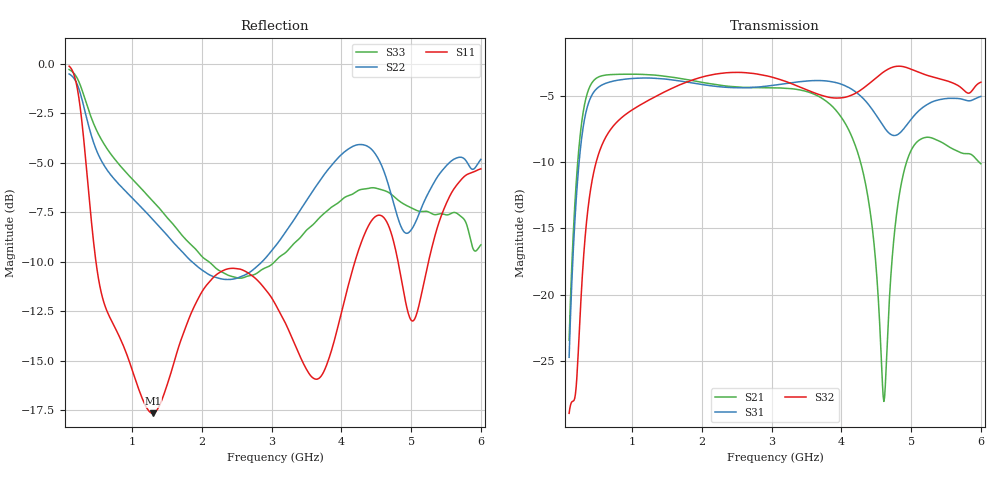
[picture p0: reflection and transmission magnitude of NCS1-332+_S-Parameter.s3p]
!Mini-Circuits
!Created: 08-07-2018 at 13:35:45
!MODEL: NCS1-332+
!S/N: Unit 1
!Remarks: Auto port extension applied.
!Port Config: Port1->PrimaryDot, Port2->SecondaryDot, Port3->Secondary.
# MHZ S DB R 50
!Frequency
!  S11 dB  S11 DEG  S12 dB  S12 DEG  S13 dB  S13 DEG
!  S21 dB  S21 DEG  S22 dB  S22 DEG  S23 dB  S23 DEG
!  S31 dB  S31 DEG  S32 dB  S32 DEG  S33 dB  S33 DEG
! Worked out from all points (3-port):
!   591 points, 100 MHz to 6 GHz, reference 50 ohm
!   strongest paths, dB at 100 MHz, 1.57 GHz, 3.05 GHz, 4.53 GHz, 6 GHz:
!     S32: -28.9, -4.5, -3.7, -3.5, -4.0
!     S31: -24.7, -3.8, -4.2, -6.7, -5.1
!     S21: -23.4, -3.6, -4.4, -20.3, -10.1
!   lowest |S11| = -17.6 dB at 1.3 GHz (marker M1), VSWR 1.30, Z = 44.9 - j11.4 ohm
!   |S11| at or under -10 dB: 484.7 MHz to 4.194 GHz (3.709 GHz wide, 159 % of centre); 4.814 GHz to 5.249 GHz (435.1 MHz wide, 8.65 % of centre)
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100  -0.12 -40.2  -23.40 -31.9  -24.69 147.3
     -23.41 -31.9  -0.51 156.9  -28.91 71.0
     -24.69 147.3  -28.91 71.0  -0.29 163.4
210  -1.11 -92.2  -10.91 -71.8  -12.18 112.5
     -10.92 -71.8  -0.99 131.1  -26.28 104.1
     -12.18 112.5  -26.28 104.1  -0.69 145.0
320  -4.19 -151.2  -5.70 -113.2  -6.80 74.5
     -5.70 -113.2  -2.30 108.1  -16.25 114.6
     -6.80 74.5  -16.25 114.6  -1.70 128.4
510  -10.62 112.7  -3.63 -162.6  -4.41 28.8
     -3.63 -162.6  -4.52 84.1  -9.60 82.1
     -4.41 28.8  -9.60 82.1  -3.48 109.9
1300  -17.65 -107.2  -3.45 111.5  -3.69 -52.9
      -3.45 111.5  -7.87 25.8  -5.18 33.8
      -3.69 -52.9  -5.18 33.8  -6.93 58.0
3050  -12.11 7.1  -4.42 2.8  -4.21 -179.9
      -4.42 2.9  -9.23 -22.2  -3.68 -11.4
      -4.21 -179.8  -3.68 -11.4  -9.97 -27.4
4210  -9.82 103.3  -8.89 -95.6  -4.74 91.8
      -8.89 -95.6  -4.11 -70.3  -4.81 -13.1
      -4.74 91.8  -4.81 -13.1  -6.47 -76.6
4610  -7.77 12.2  -28.00 -73.4  -7.36 71.5
      -28.01 -73.4  -5.42 -95.9  -3.21 -17.2
      -7.36 71.5  -3.21 -17.2  -6.39 -95.7
5160  -11.44 161.5  -8.22 -86.1  -5.92 65.5
      -8.22 -86.1  -7.17 -81.3  -3.34 -34.9
      -5.92 65.5  -3.34 -34.9  -7.46 -113.8
6000  -5.30 30.2  -10.13 175.0  -5.06 23.0
      -10.13 175.0  -4.82 -105.6  -3.99 -41.6
      -5.06 23.0  -3.99 -41.6  -9.14 -137.7
